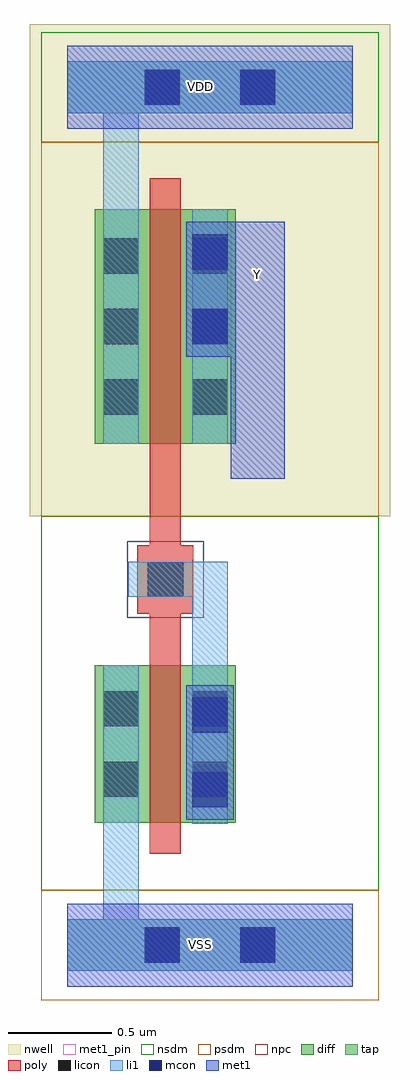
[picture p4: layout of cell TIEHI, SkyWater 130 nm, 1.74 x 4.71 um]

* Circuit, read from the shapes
.subckt TIEHI VDD VSS Y
XM1 n1 n1 VSS VSS sky130_fd_pr__nfet_01v8 w=0.76 l=0.15
XM2 Y n1 VDD VDD sky130_fd_pr__pfet_01v8 w=1.13 l=0.15
.ends

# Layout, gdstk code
from math import pi, radians
import gdstk
lib = gdstk.Library(unit=1e-6, precision=1e-09)
def R(c, l, rs):  # rectangles x0, y0, x1, y1
    for r in rs: c.add(gdstk.rectangle(r[:2], r[2:], *l))
def A(c, l, x, y, w, h, nx, ny, dx, dy):  # array of equal rectangles
    R(c, l, [(x+i*dx, y+j*dy, x+i*dx+w, y+j*dy+h) for i in range(nx) for j in range(ny)])
def P(c, l, *ps):  # polygons
    for p in ps: c.add(gdstk.Polygon(p, *l))
nwell = (64, 20)
diff = (65, 20)
tap = (65, 44)
poly = (66, 20)
licon = (66, 44)
li1 = (67, 20)
mcon = (67, 44)
met1_pin = (68, 16)
met1 = (68, 20)
nsdm = (93, 44)
psdm = (94, 20)
npc = (95, 20)

l1m1_c_cdns_751554744752 = lib.new_cell('L1M1_C_CDNS_751554744752')
R(l1m1_c_cdns_751554744752, li1, [(-0.085,-0.345,0.085,0.345)])
R(l1m1_c_cdns_751554744752, mcon, [(-0.085,-0.265,0.085,-0.095), (-0.085,0.095,0.085,0.265)])
R(l1m1_c_cdns_751554744752, met1, [(-0.115,-0.325,0.115,0.325)])

pyl1con_c_cdns_751554744 = lib.new_cell('PYL1CON_C_CDNS_751554744751')
R(pyl1con_c_cdns_751554744, poly, [(-0.135,-0.165,0.135,0.165)])
R(pyl1con_c_cdns_751554744, licon, [(-0.085,-0.085,0.085,0.085)])
R(pyl1con_c_cdns_751554744, npc, [(-0.185,-0.185,0.185,0.185)])

tiehi = lib.new_cell('TIEHI')
R(tiehi, nwell, [(-0.18,2.07,1.56,4.445)])
R(tiehi, diff, [(0.135,0.59,0.815,1.35), (0.135,2.42,0.815,3.55)])
R(tiehi, poly, [(0.4,0.44,0.55,3.7)])
A(tiehi, licon, 0.175, 2.56, 0.17, 0.17, 1, 3, 0, 0.34)
A(tiehi, licon, 0.605, 2.56, 0.17, 0.17, 1, 3, 0, 0.34)
R(tiehi, licon, [(0.375,-0.085,0.545,0.085), (0.835,-0.085,1.005,0.085), (0.175,0.715,0.345,0.885), (0.605,0.715,0.775,0.885), (0.175,1.055,0.345,1.225), (0.605,1.055,0.775,1.225), (0.375,4.055,0.545,4.225), (0.835,4.055,1.005,4.225)])
R(tiehi, li1, [(0.605,2.42,0.775,3.55)])
P(tiehi, li1, [(0.775,1.85),(0.295,1.85),(0.295,1.68),(0.605,1.68),(0.605,0.59),(0.775,0.59)],
  [(1.38,4.265),(0,4.265),(0,4.015),(0.175,4.015),(0.175,2.42),(0.345,2.42),(0.345,4.015),(1.38,4.015)],
  [(1.38,0.125),(0.345,0.125),(0.345,1.35),(0.175,1.35),(0.175,0.125),(0,0.125),(0,-0.125),(1.38,-0.125)])
R(tiehi, mcon, [(0.375,-0.085,0.545,0.085), (0.835,-0.085,1.005,0.085), (0.375,4.055,0.545,4.225), (0.835,4.055,1.005,4.225)])
R(tiehi, met1_pin, [(0.79,2.25,1.05,3.49)])
R(tiehi, nsdm, [(-0.125,0.265,1.505,2.07), (-0.125,3.875,1.505,4.405)])
R(tiehi, psdm, [(-0.125,-0.265,1.505,0.265), (-0.125,2.07,1.505,3.875)])
tiehi.add(gdstk.FlexPath([(0.92,3.49),(0.92,2.25)], 0.26, ends="flush", simple_path=True, layer=68, datatype=20))  # met1
tiehi.add(gdstk.FlexPath([(0,4.14),(1.38,4.14)], 0.4, ends="flush", simple_path=True, layer=68, datatype=20))  # met1
tiehi.add(gdstk.FlexPath([(0,0),(1.38,0)], 0.4, ends="flush", simple_path=True, layer=68, datatype=20))  # met1
tiehi.add(gdstk.FlexPath([(0,4.14),(1.38,4.14)], 0.25, ends="flush", simple_path=True, layer=65, datatype=44))  # tap
tiehi.add(gdstk.FlexPath([(0,0),(1.38,0)], 0.25, ends="flush", simple_path=True, layer=65, datatype=44))  # tap
tiehi.add(gdstk.FlexPath([(0,0),(1.38,0)], 0.4, ends="flush", simple_path=True, layer=68, datatype=16))  # met1_pin
tiehi.add(gdstk.FlexPath([(0,4.14),(1.38,4.14)], 0.4, ends="flush", simple_path=True, layer=68, datatype=16))  # met1_pin
tiehi.add(gdstk.Reference(l1m1_c_cdns_751554744752, (0.69,3.165)))
tiehi.add(gdstk.Reference(l1m1_c_cdns_751554744752, (0.69,0.93)))
tiehi.add(gdstk.Reference(pyl1con_c_cdns_751554744, (0.475,1.765), rotation=pi, x_reflection=True))
tiehi.add(gdstk.Label('Y', (0.917,3.235), layer=68, texttype=5))
tiehi.add(gdstk.Label('VDD', (0.645,4.145), layer=68, texttype=5))
tiehi.add(gdstk.Label('VSS', (0.645,0.005), layer=68, texttype=5))

lib.write_gds('TIEHI.gds')
